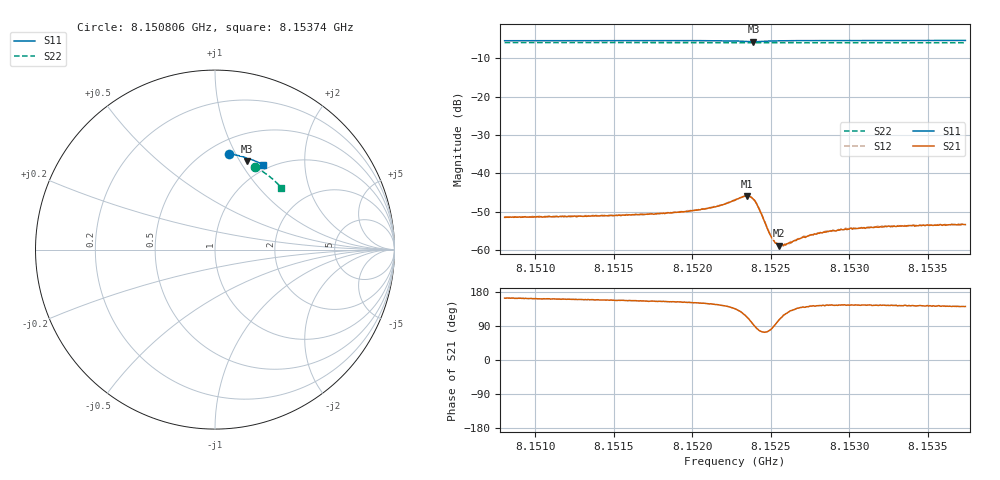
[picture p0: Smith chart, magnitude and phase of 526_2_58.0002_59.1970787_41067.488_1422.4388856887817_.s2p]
#  HZ  S  RI  R  50.00
! Rohde & Schwarz Vector Network Analyzer
! Rohde-Schwarz,ZNB20-2Port,1311601062101988,3.16
! Created: UTC 3/21/2024, 1:13:54 AM
! freq[Hz]  re:S11  im:S11  re:S21  im:S21  re:S12  im:S12  re:S22  im:S22
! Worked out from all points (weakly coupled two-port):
!   401 points, 8.150806 GHz to 8.15374 GHz, reference 50 ohm
!   highest |S21| = -45.90 dB at 8.152346 GHz (marker M1); lowest = -58.8 dB at 8.152551 GHz (marker M2)
!   lowest |S11| = -5.6 dB at 8.15239 GHz (marker M3), VSWR 3.19, Z = 39.6 + j53.6 ohm
!   |S11| at or under -10 dB: nowhere
!   |S22| runs from -5.9 to -5.8 dB; largest |S21 - S12| = 0.00011
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8.1508056e9  0.0778 0.5335  -0.00255 0.000769  -0.00258 0.000824  0.2234 0.4588
8.1512971e9  0.1119 0.5283  -0.00258 0.00097  -0.0026 0.00099  0.2511 0.4434
8.1517885e9  0.1461 0.5202  -0.00271 0.00127  -0.00268 0.00129  0.2775 0.4267
8.1520746e9  0.167 0.5137  -0.00296 0.00172  -0.00294 0.00175  0.2924 0.416
8.1521846e9  0.1756 0.5095  -0.00314 0.00223  -0.00311 0.00227  0.2981 0.4118
8.1522726e9  0.1827 0.5035  -0.00317 0.00317  -0.00314 0.00325  0.3026 0.4081
8.152346e9  0.1838 0.4941  -0.0021 0.00461  -0.00206 0.00465  0.3059 0.4052
8.152368e9  0.1814 0.4918  -0.00123 0.0048  -0.0012 0.00486  0.3068 0.4041
8.15239e9  0.1779 0.4914  -0.000258 0.00458  -0.000247 0.00464  0.3078 0.4036
8.1524046e9  0.1761 0.4926  0.000246 0.00418  0.000312 0.00422  0.3084 0.4031
8.1524267e9  0.1745 0.4957  0.000722 0.00332  0.000762 0.00339  0.3093 0.4022
8.1524853e9  0.1782 0.5024  0.000421 0.00172  0.000435 0.00174  0.3125 0.4002
8.1525073e9  0.1806 0.5036  0.000178 0.00142  0.000187 0.00145  0.3134 0.3994
8.1525293e9  0.1829 0.5043  -7.67e-05 0.00123  -7.19e-05 0.00127  0.3146 0.3984
8.1525513e9  0.1852 0.5045  -0.000299 0.0011  -0.000268 0.00117  0.316 0.3976
8.152588e9  0.189 0.5045  -0.000583 0.00103  -0.000574 0.00104  0.3177 0.3962
8.152698e9  0.1984 0.5029  -0.00109 0.000953  -0.00109 0.000975  0.3231 0.3916
8.1527641e9  0.2035 0.5013  -0.00126 0.000963  -0.00123 0.000974  0.3262 0.3889
8.1528374e9  0.2089 0.4996  -0.00139 0.001  -0.00136 0.00103  0.3298 0.3859
8.1529621e9  0.2175 0.4964  -0.00151 0.00105  -0.00152 0.00109  0.3359 0.3804
8.1532555e9  0.237 0.4882  -0.00165 0.0012  -0.00165 0.00121  0.3492 0.3675
8.1537396e9  0.2673 0.4731  -0.00167 0.00135  -0.00165 0.00137  0.3702 0.3454
